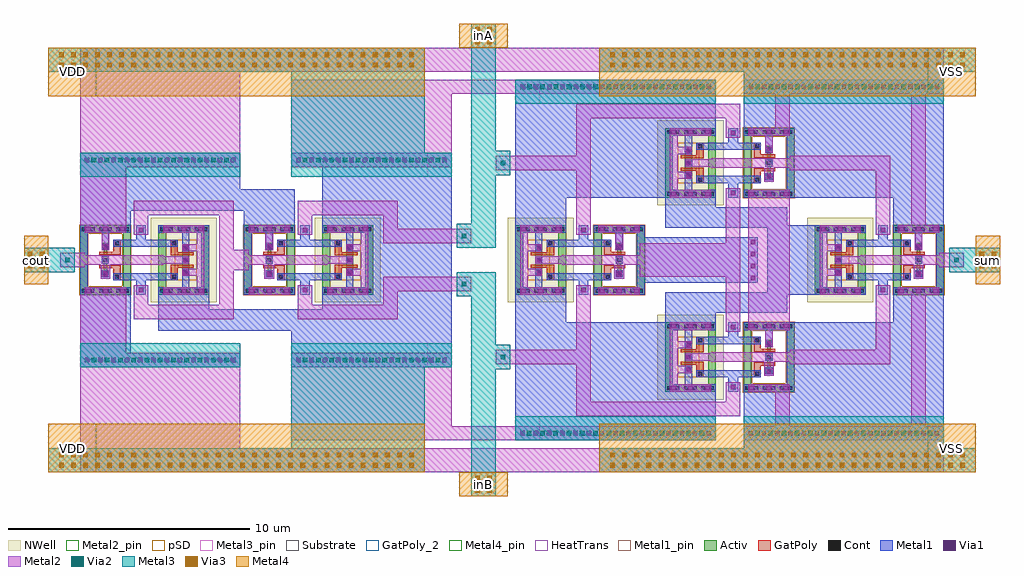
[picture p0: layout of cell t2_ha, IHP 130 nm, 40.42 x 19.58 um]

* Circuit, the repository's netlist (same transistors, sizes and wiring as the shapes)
** sch_path: /foss/designs/PROJECTS/cmos-pll-ihp-sg13g2/Team 2 Design/design_data/xschem/t2_ha.sch
.subckt t2_ha VDD VSS inA inB sum cout
*.PININFO VSS:B inA:I inB:I sum:O VDD:B cout:O
x1 VDD VSS inA inB sum t2_xor2
x2 VDD VSS inA cout inB t2_and2
.ends

* expanding   symbol:  t2_xor2.sym # of pins=5
** sym_path: /foss/designs/PROJECTS/cmos-pll-ihp-sg13g2/Team 2 Design/design_data/xschem/t2_xor2.sym
** sch_path: /foss/designs/PROJECTS/cmos-pll-ihp-sg13g2/Team 2 Design/design_data/xschem/t2_xor2.sch
.subckt t2_xor2 VDD VSS inA inB out
*.PININFO VSS:B inA:I inB:I out:O VDD:B
x1 VDD inA inB net1 VSS t2_nand2
x2 VDD inA net1 net3 VSS t2_nand2
x3 VDD net1 inB net2 VSS t2_nand2
x4 VDD net3 net2 out VSS t2_nand2
.ends


* expanding   symbol:  t2_and2.sym # of pins=5
** sym_path: /foss/designs/PROJECTS/cmos-pll-ihp-sg13g2/Team 2 Design/design_data/xschem/t2_and2.sym
** sch_path: /foss/designs/PROJECTS/cmos-pll-ihp-sg13g2/Team 2 Design/design_data/xschem/t2_and2.sch
.subckt t2_and2 VDD VSS inA out inB
*.PININFO VSS:B inA:I inB:I out:O VDD:B
x1 VDD inA inB net1 VSS t2_nand2
x2 VDD net1 net1 out VSS t2_nand2
.ends


* expanding   symbol:  t2_nand2.sym # of pins=5
** sym_path: /foss/designs/PROJECTS/cmos-pll-ihp-sg13g2/Team 2 Design/design_data/xschem/t2_nand2.sym
** sch_path: /foss/designs/PROJECTS/cmos-pll-ihp-sg13g2/Team 2 Design/design_data/xschem/t2_nand2.sch
.subckt t2_nand2 VDD inA inB out VSS
*.PININFO VSS:B inA:I inB:I out:O VDD:B
M1 out inA VDD VDD sg13_lv_pmos w=0.3u l=0.13u ng=1 m=1
M2 out inB VDD VDD sg13_lv_pmos w=0.3u l=0.13u ng=1 m=1
M3 out inB net1 VSS sg13_lv_nmos w=0.15u l=0.13u ng=1 m=1
M4 net1 inA VSS VSS sg13_lv_nmos w=0.15u l=0.13u ng=1 m=1
.ends

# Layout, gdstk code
from math import pi, radians
import gdstk
lib = gdstk.Library(unit=1e-6, precision=1e-09)
def R(c, l, rs):  # rectangles x0, y0, x1, y1
    for r in rs: c.add(gdstk.rectangle(r[:2], r[2:], *l))
def A(c, l, x, y, w, h, nx, ny, dx, dy):  # array of equal rectangles
    R(c, l, [(x+i*dx, y+j*dy, x+i*dx+w, y+j*dy+h) for i in range(nx) for j in range(ny)])
Activ = (1, 0)
GatPoly = (5, 0)
GatPoly_2 = (5, 2)
Cont = (6, 0)
Metal1 = (8, 0)
Metal1_pin = (8, 2)
Metal2 = (10, 0)
Metal2_pin = (10, 2)
pSD = (14, 0)
Via1 = (19, 0)
Via2 = (29, 0)
Metal3 = (30, 0)
Metal3_pin = (30, 2)
NWell = (31, 0)
Substrate = (40, 0)
Via3 = (49, 0)
Metal4 = (50, 0)
Metal4_pin = (50, 2)
HeatTrans = (51, 0)

pmos_1 = lib.new_cell('pmos$1')
R(pmos_1, Activ, [(0,0,0.3,0.3), (0,0,0.81,0.3), (0.51,0,0.81,0.3)])
R(pmos_1, GatPoly, [(0.34,-0.18,0.47,0.48), (0.34,-0.18,0.47,0.48)])
R(pmos_1, Cont, [(0.07,0.07,0.23,0.23), (0.58,0.07,0.74,0.23)])
R(pmos_1, Metal1, [(0.07,0,0.23,0.3), (0.07,0,0.23,0.3), (0.58,0,0.74,0.3), (0.58,0,0.74,0.3)])
R(pmos_1, pSD, [(-0.18,-0.3,0.99,0.6)])
R(pmos_1, NWell, [(-0.31,-0.31,1.12,0.61)])
R(pmos_1, Substrate, [(0.51,0,0.81,0.3)])
R(pmos_1, HeatTrans, [(0.34,-0.18,0.47,0.48)])
pmos_1.add(gdstk.Label('pmos', (0.405,0.15), layer=63, texttype=0))
pmos_1.add(gdstk.Label('pmos', (0.405,0.15), layer=51, texttype=0))

nmos_1 = lib.new_cell('nmos$1')
R(nmos_1, Activ, [(0,0,0.3,0.3), (0.57,0,0.87,0.3), (0,0.075,0.87,0.225)])
R(nmos_1, GatPoly, [(0.37,-0.105,0.5,0.405)])
R(nmos_1, GatPoly_2, [(0.37,-0.105,0.5,0.405)])
R(nmos_1, Cont, [(0.07,0.07,0.23,0.23), (0.64,0.07,0.8,0.23)])
R(nmos_1, Metal1, [(0.07,0.02,0.23,0.28), (0.64,0.02,0.8,0.28)])
R(nmos_1, Metal1_pin, [(0.07,0.02,0.23,0.28), (0.64,0.02,0.8,0.28)])
R(nmos_1, HeatTrans, [(0.37,-0.105,0.5,0.405)])
nmos_1.add(gdstk.Label('nmos', (0.435,0.15), layer=63, texttype=0))
nmos_1.add(gdstk.Label('nmos', (0.435,0.15), layer=51, texttype=0))

t2_nand2_1 = lib.new_cell('t2_nand2$1')
R(t2_nand2_1, Activ, [(-6.22,-2.335,-3.66,-2.015), (-3.66,-2.335,-3.34,-0.555), (-6.22,-2.015,-5.9,-0.235), (-5.9,-0.555,-3.34,-0.235), (-6.22,0.915,-3.66,1.235), (-3.66,0.915,-3.34,2.695), (-6.22,1.235,-5.9,3.015), (-5.9,2.695,-3.34,3.015)])
R(t2_nand2_1, GatPoly, [(-5.13,-1.03,-5,-0.955), (-4.56,-1.03,-4.43,-0.955), (-5.62,-0.955,-5,-0.655), (-4.56,-0.955,-3.94,-0.655), (-5.62,1.415,-4.97,1.715), (-4.59,1.415,-3.94,1.715)])
A(t2_nand2_1, Cont, -3.58, -2.255, 0.16, 0.16, 1, 5, 0, 0.355)
A(t2_nand2_1, Cont, -6.14, -1.895, 0.16, 0.16, 1, 5, 0, 0.355)
A(t2_nand2_1, Cont, -6.14, 1.355, 0.16, 0.16, 1, 5, 0, 0.355)
A(t2_nand2_1, Cont, -3.58, 1.355, 0.16, 0.16, 1, 5, 0, 0.355)
R(t2_nand2_1, Cont, [(-6.14,-2.255,-5.98,-2.095), (-5.55,-0.885,-5.39,-0.725), (-4.17,-0.885,-4.01,-0.725), (-3.58,-0.475,-3.42,-0.315), (-6.14,0.995,-5.98,1.155), (-3.58,0.995,-3.42,1.155), (-5.55,1.485,-5.39,1.645), (-4.17,1.485,-4.01,1.645)])
R(t2_nand2_1, Metal1, [(-6.22,-2.335,-5.9,-0.235), (-5.9,-2.335,-3.66,-2.015), (-3.66,-2.335,-3.34,-0.235), (-5.9,-1.435,-5.205,-1.135), (-4.93,-1.435,-4.63,-1.135), (-4.36,-1.435,-4.06,-1.135), (-5.62,-0.955,-5.32,1.715), (-4.24,-0.955,-3.94,1.715), (-6.22,-0.005,-5.62,0.395), (-3.94,-0.005,-3.34,0.395), (-6.22,0.915,-5.9,3.015), (-3.66,0.915,-3.34,3.015), (-5.9,1.895,-5.145,2.195), (-4.93,1.895,-4.63,2.195), (-4.415,1.895,-3.66,2.195), (-5.9,2.695,-3.66,3.015)])
R(t2_nand2_1, Metal2, [(-6.22,-2.14,-5.9,-0.425), (-4.98,-2.14,-4.58,1.105), (-3.66,-2.14,-3.34,-0.425), (-4.58,-1.485,-4.01,-1.085), (-5.9,-1.445,-5.19,-1.125), (-6.22,-0.005,-5.82,0.395), (-3.74,-0.005,-3.34,0.395), (-6.22,1.105,-5.9,2.82), (-4.93,1.105,-4.63,2.19), (-3.66,1.105,-3.34,2.82), (-5.44,1.9,-5.14,2.5), (-4.42,1.9,-4.12,2.5), (-5.9,2.5,-3.66,2.82)])
R(t2_nand2_1, Metal2_pin, [(-5.455,-1.39,-5.245,-1.18), (-4.315,-1.39,-4.105,-1.18), (-6.125,0.09,-5.915,0.3), (-3.645,0.09,-3.435,0.3), (-5.395,1.94,-5.185,2.15), (-4.375,1.94,-4.165,2.15)])
R(t2_nand2_1, pSD, [(-6.25,-2.365,-3.69,-1.985), (-3.69,-2.365,-3.31,-0.585), (-6.25,-1.985,-5.87,-0.205), (-5.87,-0.585,-3.31,-0.205)])
A(t2_nand2_1, Via1, -5.385, 1.95, 0.19, 0.19, 3, 1, 0.51, 0)
R(t2_nand2_1, Via1, [(-6.155,-2.09,-5.965,-1.9), (-3.595,-2.09,-3.405,-1.9), (-5.445,-1.38,-5.255,-1.19), (-4.305,-1.38,-4.115,-1.19), (-3.595,-1.38,-3.405,-1.19), (-6.155,-1.375,-5.965,-1.185), (-6.155,-0.665,-5.965,-0.475), (-3.595,-0.665,-3.405,-0.475), (-6.115,0.1,-5.925,0.29), (-3.635,0.1,-3.445,0.29), (-6.155,1.155,-5.965,1.345), (-3.595,1.155,-3.405,1.345), (-6.155,1.87,-5.965,2.06), (-3.595,1.87,-3.405,2.06), (-6.155,2.58,-5.965,2.77), (-3.595,2.58,-3.405,2.77)])
R(t2_nand2_1, NWell, [(-6.54,0.595,-3.02,3.335)])
t2_nand2_1.add(gdstk.Reference(pmos_1, (-5.44,1.895)))
t2_nand2_1.add(gdstk.Reference(pmos_1, (-4.93,1.895)))
t2_nand2_1.add(gdstk.Reference(nmos_1, (-5.5,-1.435)))
t2_nand2_1.add(gdstk.Reference(nmos_1, (-4.93,-1.435)))
t2_nand2_1.add(gdstk.Label('VDD', (-5.29,2.045), layer=10, texttype=2))
t2_nand2_1.add(gdstk.Label('VDD', (-4.27,2.045), layer=10, texttype=2))
t2_nand2_1.add(gdstk.Label('VSS', (-5.35,-1.285), layer=10, texttype=2))
t2_nand2_1.add(gdstk.Label('out', (-4.21,-1.285), layer=10, texttype=2))
t2_nand2_1.add(gdstk.Label('inA', (-6.02,0.195), layer=10, texttype=2))
t2_nand2_1.add(gdstk.Label('inB', (-3.54,0.195), layer=10, texttype=2))

t2_and2 = lib.new_cell('t2_and2')
R(t2_and2, Metal1, [(-4.66,-2.38,1.98,-0.88), (4.09,-2.38,10.73,-1.79), (8.63,-1.79,10.73,0.62), (-4.66,-0.88,7.48,0.02), (-4.66,0.02,-1.41,4.1), (-1.41,0.02,0.69,0.62), (5.38,0.02,7.48,0.62), (-1.41,3.5,0.69,4.1), (1.84,3.5,3.94,4.1), (8.63,3.5,10.73,4.1), (-4.66,4.1,0.69,5.91), (1.84,4.1,10.73,5), (4.09,5,10.73,6.5), (-4.66,5.91,1.98,6.5)])
R(t2_and2, Metal2, [(-4.66,-2.38,1.98,-1.79), (4.09,-2.38,10.73,-1.79), (8.82,-1.79,10.73,0.62), (-2.43,-0.4,-1.83,1.36), (-1.83,-0.4,1.11,0.2), (1.11,-0.4,1.71,1.02), (4.36,-0.4,4.96,4.52), (4.96,-0.4,7.9,0.2), (7.9,-0.4,8.5,1.02), (-5.48,0.76,-2.43,1.36), (3.745,1.63,4.36,2.49), (10.535,1.76,11.55,2.36), (-5.48,2.76,-2.43,3.36), (-2.43,2.76,-1.83,4.52), (1.11,3.1,1.71,4.52), (7.9,3.1,8.5,4.52), (8.82,3.5,10.73,5.91), (-1.83,3.92,1.11,4.52), (4.96,3.92,7.9,4.52), (-4.66,5.91,1.98,6.5), (4.09,5.91,10.73,6.5)])
A(t2_and2, Via1, -4.46, -2.18, 0.19, 0.19, 12, 2, 0.55, 8.29)
A(t2_and2, Via1, 4.29, -2.18, 0.19, 0.19, 12, 2, 0.55, 8.29)
A(t2_and2, Via2, -4.185, -2.18, 0.19, 0.19, 11, 2, 0.55, 8.29)
A(t2_and2, Via2, 4.565, -2.18, 0.19, 0.19, 11, 2, 0.55, 8.29)
R(t2_and2, Via2, [(-5.275,0.965,-5.085,1.155), (11.155,1.965,11.345,2.155), (-5.275,2.965,-5.085,3.155)])
R(t2_and2, Metal3, [(-4.66,-2.38,1.98,-1.39), (4.09,-2.38,10.73,-1.39), (-5.48,0.56,-4.88,1.56), (10.95,1.56,11.55,2.56), (-5.48,2.56,-4.88,3.56), (-4.66,5.51,1.98,6.5), (4.09,5.51,10.73,6.5)])
R(t2_and2, Metal3_pin, [(-4.66,-2.38,-3.66,-1.39), (9.73,-2.38,10.73,-1.39), (-5.48,0.76,-4.88,1.36), (10.95,1.76,11.55,2.36), (-5.48,2.76,-4.88,3.36), (-4.66,5.51,-3.66,6.5), (9.73,5.51,10.73,6.5)])
t2_and2.add(gdstk.Reference(t2_nand2_1, (1.605,-2.72), rotation=3*pi/2, x_reflection=True))
t2_and2.add(gdstk.Reference(t2_nand2_1, (8.395,-2.72), rotation=3*pi/2, x_reflection=True))
t2_and2.add(gdstk.Label('inA', (-5.18,3.06), layer=30, texttype=2))
t2_and2.add(gdstk.Label('inA', (-5.18,1.06), layer=30, texttype=2))
t2_and2.add(gdstk.Label('out', (11.25,2.06), layer=30, texttype=2))
t2_and2.add(gdstk.Label('VSS', (10.23,6.005), layer=30, texttype=2))
t2_and2.add(gdstk.Label('VSS', (10.23,-1.885), layer=30, texttype=2))
t2_and2.add(gdstk.Label('VDD', (-4.16,6.005), layer=30, texttype=2))
t2_and2.add(gdstk.Label('VDD', (-4.16,-1.885), layer=30, texttype=2))

pmos = lib.new_cell('pmos')
R(pmos, Activ, [(0,0,0.3,0.3), (0,0,0.81,0.3), (0.51,0,0.81,0.3)])
R(pmos, GatPoly, [(0.34,-0.18,0.47,0.48), (0.34,-0.18,0.47,0.48)])
R(pmos, Cont, [(0.07,0.07,0.23,0.23), (0.58,0.07,0.74,0.23)])
R(pmos, Metal1, [(0.07,0,0.23,0.3), (0.07,0,0.23,0.3), (0.58,0,0.74,0.3), (0.58,0,0.74,0.3)])
R(pmos, pSD, [(-0.18,-0.3,0.99,0.6)])
R(pmos, NWell, [(-0.31,-0.31,1.12,0.61)])
R(pmos, Substrate, [(0.51,0,0.81,0.3)])
R(pmos, HeatTrans, [(0.34,-0.18,0.47,0.48)])
pmos.add(gdstk.Label('pmos', (0.405,0.15), layer=63, texttype=0))
pmos.add(gdstk.Label('pmos', (0.405,0.15), layer=51, texttype=0))

nmos = lib.new_cell('nmos')
R(nmos, Activ, [(0,0,0.3,0.3), (0.57,0,0.87,0.3), (0,0.075,0.87,0.225)])
R(nmos, GatPoly, [(0.37,-0.105,0.5,0.405)])
R(nmos, GatPoly_2, [(0.37,-0.105,0.5,0.405)])
R(nmos, Cont, [(0.07,0.07,0.23,0.23), (0.64,0.07,0.8,0.23)])
R(nmos, Metal1, [(0.07,0.02,0.23,0.28), (0.64,0.02,0.8,0.28)])
R(nmos, Metal1_pin, [(0.07,0.02,0.23,0.28), (0.64,0.02,0.8,0.28)])
R(nmos, HeatTrans, [(0.37,-0.105,0.5,0.405)])
nmos.add(gdstk.Label('nmos', (0.435,0.15), layer=63, texttype=0))
nmos.add(gdstk.Label('nmos', (0.435,0.15), layer=51, texttype=0))

t2_nand2 = lib.new_cell('t2_nand2')
R(t2_nand2, Activ, [(-6.22,-2.335,-3.66,-2.015), (-3.66,-2.335,-3.34,-0.555), (-6.22,-2.015,-5.9,-0.235), (-5.9,-0.555,-3.34,-0.235), (-6.22,0.915,-3.66,1.235), (-3.66,0.915,-3.34,2.695), (-6.22,1.235,-5.9,3.015), (-5.9,2.695,-3.34,3.015)])
R(t2_nand2, GatPoly, [(-5.13,-1.03,-5,-0.955), (-4.56,-1.03,-4.43,-0.955), (-5.62,-0.955,-5,-0.655), (-4.56,-0.955,-3.94,-0.655), (-5.62,1.415,-4.97,1.715), (-4.59,1.415,-3.94,1.715)])
A(t2_nand2, Cont, -3.58, -2.255, 0.16, 0.16, 1, 5, 0, 0.355)
A(t2_nand2, Cont, -6.14, -1.895, 0.16, 0.16, 1, 5, 0, 0.355)
A(t2_nand2, Cont, -6.14, 1.355, 0.16, 0.16, 1, 5, 0, 0.355)
A(t2_nand2, Cont, -3.58, 1.355, 0.16, 0.16, 1, 5, 0, 0.355)
R(t2_nand2, Cont, [(-6.14,-2.255,-5.98,-2.095), (-5.55,-0.885,-5.39,-0.725), (-4.17,-0.885,-4.01,-0.725), (-3.58,-0.475,-3.42,-0.315), (-6.14,0.995,-5.98,1.155), (-3.58,0.995,-3.42,1.155), (-5.55,1.485,-5.39,1.645), (-4.17,1.485,-4.01,1.645)])
R(t2_nand2, Metal1, [(-6.22,-2.335,-5.9,-0.235), (-5.9,-2.335,-3.66,-2.015), (-3.66,-2.335,-3.34,-0.235), (-5.9,-1.435,-5.205,-1.135), (-4.93,-1.435,-4.63,-1.135), (-4.36,-1.435,-4.06,-1.135), (-5.62,-0.955,-5.32,1.715), (-4.24,-0.955,-3.94,1.715), (-6.22,-0.005,-5.62,0.395), (-3.94,-0.005,-3.34,0.395), (-6.22,0.915,-5.9,3.015), (-3.66,0.915,-3.34,3.015), (-5.9,1.895,-5.145,2.195), (-4.93,1.895,-4.63,2.195), (-4.415,1.895,-3.66,2.195), (-5.9,2.695,-3.66,3.015)])
R(t2_nand2, Metal2, [(-6.22,-2.14,-5.9,-0.425), (-4.98,-2.14,-4.58,1.105), (-3.66,-2.14,-3.34,-0.425), (-4.58,-1.485,-4.01,-1.085), (-5.9,-1.445,-5.19,-1.125), (-6.22,-0.005,-5.82,0.395), (-3.74,-0.005,-3.34,0.395), (-6.22,1.105,-5.9,2.82), (-4.93,1.105,-4.63,2.19), (-3.66,1.105,-3.34,2.82), (-5.44,1.9,-5.14,2.5), (-4.42,1.9,-4.12,2.5), (-5.9,2.5,-3.66,2.82)])
R(t2_nand2, Metal2_pin, [(-5.455,-1.39,-5.245,-1.18), (-4.315,-1.39,-4.105,-1.18), (-6.125,0.09,-5.915,0.3), (-3.645,0.09,-3.435,0.3), (-5.395,1.94,-5.185,2.15), (-4.375,1.94,-4.165,2.15)])
R(t2_nand2, pSD, [(-6.25,-2.365,-3.69,-1.985), (-3.69,-2.365,-3.31,-0.585), (-6.25,-1.985,-5.87,-0.205), (-5.87,-0.585,-3.31,-0.205)])
A(t2_nand2, Via1, -5.385, 1.95, 0.19, 0.19, 3, 1, 0.51, 0)
R(t2_nand2, Via1, [(-6.155,-2.09,-5.965,-1.9), (-3.595,-2.09,-3.405,-1.9), (-5.445,-1.38,-5.255,-1.19), (-4.305,-1.38,-4.115,-1.19), (-3.595,-1.38,-3.405,-1.19), (-6.155,-1.375,-5.965,-1.185), (-6.155,-0.665,-5.965,-0.475), (-3.595,-0.665,-3.405,-0.475), (-6.115,0.1,-5.925,0.29), (-3.635,0.1,-3.445,0.29), (-6.155,1.155,-5.965,1.345), (-3.595,1.155,-3.405,1.345), (-6.155,1.87,-5.965,2.06), (-3.595,1.87,-3.405,2.06), (-6.155,2.58,-5.965,2.77), (-3.595,2.58,-3.405,2.77)])
R(t2_nand2, NWell, [(-6.54,0.595,-3.02,3.335)])
t2_nand2.add(gdstk.Reference(pmos, (-5.44,1.895)))
t2_nand2.add(gdstk.Reference(pmos, (-4.93,1.895)))
t2_nand2.add(gdstk.Reference(nmos, (-5.5,-1.435)))
t2_nand2.add(gdstk.Reference(nmos, (-4.93,-1.435)))
t2_nand2.add(gdstk.Label('VDD', (-5.29,2.045), layer=10, texttype=2))
t2_nand2.add(gdstk.Label('VDD', (-4.27,2.045), layer=10, texttype=2))
t2_nand2.add(gdstk.Label('VSS', (-5.35,-1.285), layer=10, texttype=2))
t2_nand2.add(gdstk.Label('out', (-4.21,-1.285), layer=10, texttype=2))
t2_nand2.add(gdstk.Label('inA', (-6.02,0.195), layer=10, texttype=2))
t2_nand2.add(gdstk.Label('inB', (-3.54,0.195), layer=10, texttype=2))

t2_xor2 = lib.new_cell('t2_xor2')
R(t2_xor2, Metal1, [(-5.77,-9.32,2.53,-7.31), (3.68,-9.32,11.98,-7.31), (-5.77,-7.31,-3.67,-3.29), (-3.67,-7.31,0.43,-4.43), (5.78,-7.31,9.88,-4.43), (9.88,-7.31,11.98,-3.29), (0.43,-4.43,2.53,-3.19), (2.53,-4.025,4.66,-3.19), (4.66,-4.025,5.495,0.33), (5.495,-3.29,6.63,-0.41), (-0.42,-2.8,4.26,-0.9), (0.43,-0.505,2.53,0.73), (2.53,-0.505,4.66,0.33), (-5.77,-0.41,-3.67,3.61), (9.88,-0.41,11.98,3.61), (-3.67,0.73,0.43,3.61), (5.78,0.73,9.88,3.61), (-5.77,3.61,2.53,5.62), (3.68,3.61,11.98,5.62)])
R(t2_xor2, Metal2, [(-5.77,-9.32,2.53,-8.73), (3.68,-9.32,11.98,-8.73), (4.985,-8.73,5.585,-7.31), (10.63,-8.73,11.23,-3.29), (-3.25,-8.33,-2.65,-2.89), (-2.65,-8.33,2.95,-7.73), (2.95,-8.33,3.55,-6.91), (-6.59,-6.17,-3.25,-5.57), (5.585,-6.17,9.15,-5.57), (9.15,-6.17,9.75,-2.89), (2.95,-4.83,3.55,1.13), (3.87,-4.43,5.585,0.73), (-0.615,-2.55,2.95,-1.15), (11.785,-2.15,12.8,-1.55), (-3.25,-0.81,-2.65,4.63), (9.15,-0.81,9.75,2.47), (10.63,-0.41,11.23,5.03), (-6.59,1.87,-3.25,2.47), (5.585,1.87,9.15,2.47), (2.95,3.21,3.55,4.63), (4.985,3.61,5.585,5.03), (-2.65,4.03,2.95,4.63), (-5.77,5.03,2.53,5.62), (3.68,5.03,11.98,5.62)])
A(t2_xor2, Via1, -5.57, -9.12, 0.19, 0.19, 15, 1, 0.55, 0)
A(t2_xor2, Via1, 3.88, -9.12, 0.19, 0.19, 15, 1, 0.55, 0)
A(t2_xor2, Via1, 3.97, -2.695, 0.19, 0.19, 1, 4, 0, 0.5)
A(t2_xor2, Via1, -5.56, 5.23, 0.19, 0.19, 15, 1, 0.55, 0)
A(t2_xor2, Via1, 3.89, 5.23, 0.19, 0.19, 15, 1, 0.55, 0)
A(t2_xor2, Via2, -5.295, -9.12, 0.19, 0.19, 14, 1, 0.55, 0)
A(t2_xor2, Via2, 4.155, -9.12, 0.19, 0.19, 14, 1, 0.55, 0)
A(t2_xor2, Via2, -5.285, 5.23, 0.19, 0.19, 14, 1, 0.55, 0)
A(t2_xor2, Via2, 4.165, 5.23, 0.19, 0.19, 14, 1, 0.55, 0)
R(t2_xor2, Via2, [(-6.385,-5.965,-6.195,-5.775), (12.405,-1.945,12.595,-1.755), (-6.385,2.075,-6.195,2.265)])
R(t2_xor2, Metal3, [(-5.77,-9.32,2.53,-8.33), (3.68,-9.32,11.98,-8.33), (-6.59,-6.37,-5.99,-5.37), (12.2,-2.35,12.8,-1.35), (-6.59,1.67,-5.99,2.67), (-5.77,4.63,2.53,5.62), (3.68,4.63,11.98,5.62)])
R(t2_xor2, Metal3_pin, [(-5.77,-9.32,-4.77,-8.33), (10.98,-9.32,11.98,-8.33), (-6.59,-6.17,-5.99,-5.57), (12.2,-2.15,12.8,-1.55), (-6.59,1.87,-5.99,2.47), (-5.77,4.63,-4.77,5.62), (10.98,4.63,11.98,5.62)])
t2_xor2.add(gdstk.Reference(t2_nand2, (3.445,-10.65), rotation=3*pi/2, x_reflection=True))
t2_xor2.add(gdstk.Reference(t2_nand2, (3.445,-2.61), rotation=3*pi/2, x_reflection=True))
t2_xor2.add(gdstk.Reference(t2_nand2, (9.645,-6.63), rotation=3*pi/2, x_reflection=True))
t2_xor2.add(gdstk.Reference(t2_nand2, (-2.755,-6.63), rotation=3*pi/2, x_reflection=True))
t2_xor2.add(gdstk.Label('inB', (-6.29,-5.87), layer=30, texttype=2))
t2_xor2.add(gdstk.Label('out', (12.5,-1.85), layer=30, texttype=2))
t2_xor2.add(gdstk.Label('inA', (-6.29,2.17), layer=30, texttype=2))
t2_xor2.add(gdstk.Label('VDD', (-5.27,5.125), layer=30, texttype=2))
t2_xor2.add(gdstk.Label('VSS', (11.48,5.125), layer=30, texttype=2))
t2_xor2.add(gdstk.Label('VDD', (-5.27,-8.825), layer=30, texttype=2))
t2_xor2.add(gdstk.Label('VSS', (11.48,-8.825), layer=30, texttype=2))

t2_ha = lib.new_cell('t2_ha')
R(t2_ha, Metal2, [(-12.81,6.43,-6.17,10.78), (-6.17,6.43,14.67,7.43), (14.67,6.43,22.97,7.75), (-4.06,7.75,2.58,10.78), (2.58,7.75,5.22,8.34), (-12.81,19.66,-6.17,24.01), (-4.06,19.66,2.58,22.69), (2.58,22.1,5.22,22.69), (14.67,22.69,22.97,24.01), (-6.17,23.01,14.67,24.01)])
R(t2_ha, Metal3, [(3.4,5.43,4.4,6.93), (-14.13,6.43,1.46,7.43), (8.7,6.43,24.29,7.43), (3.4,6.93,4.4,14.72), (-4.06,7.43,1.46,10.78), (14.67,7.43,22.97,7.75), (-15.13,14.72,-13.63,15.72), (23.79,14.72,25.29,15.72), (3.4,15.72,4.4,23.51), (-4.06,19.66,1.46,23.01), (14.67,22.69,22.97,23.01), (-14.13,23.01,1.46,24.01), (8.7,23.01,24.29,24.01), (3.4,23.51,4.4,25.01)])
A(t2_ha, Via3, -13.68, 6.625, 0.19, 0.19, 30, 2, 0.5, 0.42)
A(t2_ha, Via3, 9.15, 6.625, 0.19, 0.19, 30, 2, 0.5, 0.42)
A(t2_ha, Via3, -13.68, 23.205, 0.19, 0.19, 30, 2, 0.5, 0.42)
A(t2_ha, Via3, 9.15, 23.205, 0.19, 0.19, 30, 2, 0.5, 0.42)
R(t2_ha, Via3, [(3.55,5.58,3.74,5.77), (4.06,5.58,4.25,5.77), (3.55,6.09,3.74,6.28), (4.06,6.09,4.25,6.28), (-14.98,14.87,-14.79,15.06), (-14.47,14.87,-14.28,15.06), (24.44,14.87,24.63,15.06), (24.95,14.87,25.14,15.06), (-14.98,15.38,-14.79,15.57), (-14.47,15.38,-14.28,15.57), (24.44,15.38,24.63,15.57), (24.95,15.38,25.14,15.57), (3.55,24.16,3.74,24.35), (4.06,24.16,4.25,24.35), (3.55,24.67,3.74,24.86), (4.06,24.67,4.25,24.86)])
R(t2_ha, Metal4, [(2.9,5.43,4.9,6.43), (-14.13,6.43,1.46,8.43), (8.7,6.43,24.29,8.43), (-15.13,14.22,-14.13,16.22), (24.29,14.22,25.29,16.22), (-14.13,22.01,1.46,24.01), (8.7,22.01,24.29,24.01), (2.9,24.01,4.9,25.01)])
R(t2_ha, Metal4_pin, [(2.9,5.43,4.9,6.43), (-14.13,6.43,-12.13,8.43), (22.29,6.43,24.29,8.43), (-15.13,14.22,-14.13,16.22), (24.29,14.22,25.29,16.22), (-14.13,22.01,-12.13,24.01), (22.29,22.01,24.29,24.01), (2.9,24.01,4.9,25.01)])
t2_ha.add(gdstk.Reference(t2_and2, (-2.08,13.16), rotation=pi, x_reflection=True))
t2_ha.add(gdstk.Reference(t2_xor2, (10.99,17.07)))
t2_ha.add(gdstk.Label('sum', (24.79,15.22), layer=50, texttype=2))
t2_ha.add(gdstk.Label('cout', (-14.63,15.22), layer=50, texttype=2))
t2_ha.add(gdstk.Label('inA', (3.9,24.51), layer=50, texttype=2))
t2_ha.add(gdstk.Label('inB', (3.9,5.93), layer=50, texttype=2))
t2_ha.add(gdstk.Label('VDD', (-13.13,7.43), layer=50, texttype=2))
t2_ha.add(gdstk.Label('VDD', (-13.13,23.01), layer=50, texttype=2))
t2_ha.add(gdstk.Label('VSS', (23.29,23.01), layer=50, texttype=2))
t2_ha.add(gdstk.Label('VSS', (23.29,7.43), layer=50, texttype=2))

lib.write_gds('t2_ha.gds')
